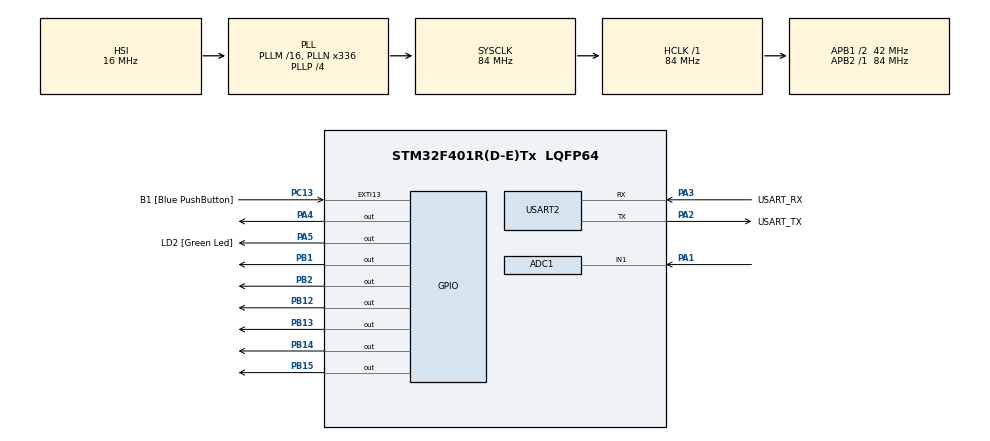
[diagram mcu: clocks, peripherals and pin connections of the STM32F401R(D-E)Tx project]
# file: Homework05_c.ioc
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ADC1.Channel-0\#ChannelRegularConversion=ADC_CHANNEL_1
ADC1.ExternalTrigConv=ADC_EXTERNALTRIGCONV_T3_TRGO
ADC1.NbrOfConversionFlag=1
ADC1.Rank-0\#ChannelRegularConversion=1
ADC1.SamplingTime-0\#ChannelRegularConversion=ADC_SAMPLETIME_480CYCLES
ADC1.master=1
Mcu.Family=STM32F4
Mcu.Name=STM32F401R(D-E)Tx
Mcu.Package=LQFP64
NVIC.ADC_IRQn=true\:0\:0\:false\:false\:true\:true\:true\:true
NVIC.PriorityGroup=NVIC_PRIORITYGROUP_4
PA1.Signal=ADCx_IN1
PA13.GPIO_Label=TMS
PA13.Mode=Trace_Asynchronous_SW
PA13.Signal=SYS_JTMS-SWDIO
PA14.GPIO_Label=TCK
PA14.Mode=Trace_Asynchronous_SW
PA14.Signal=SYS_JTCK-SWCLK
PA2.GPIO_Label=USART_TX
PA2.GPIO_Mode=GPIO_MODE_AF_PP
PA2.GPIO_PuPd=GPIO_NOPULL
PA2.GPIO_Speed=GPIO_SPEED_FREQ_LOW
PA2.Mode=Asynchronous
PA2.Signal=USART2_TX
PA3.GPIO_Label=USART_RX
PA3.GPIO_Mode=GPIO_MODE_AF_PP
PA3.GPIO_PuPd=GPIO_NOPULL
PA3.GPIO_Speed=GPIO_SPEED_FREQ_LOW
PA3.Mode=Asynchronous
PA3.Signal=USART2_RX
PA4.Signal=GPIO_Output
PA5.GPIO_Label=LD2 [Green Led]
PA5.GPIO_Mode=GPIO_MODE_OUTPUT_PP
PA5.GPIO_PuPd=GPIO_NOPULL
PA5.GPIO_Speed=GPIO_SPEED_FREQ_LOW
PA5.Signal=GPIO_Output
PB1.Signal=GPIO_Output
PB12.Signal=GPIO_Output
PB13.Signal=GPIO_Output
PB14.Signal=GPIO_Output
PB15.Signal=GPIO_Output
PB2.Signal=GPIO_Output
PB3.GPIO_Label=SWO
PB3.Mode=Trace_Asynchronous_SW
PB3.Signal=SYS_JTDO-SWO
PC13-ANTI_TAMP.GPIO_Label=B1 [Blue PushButton]
PC13-ANTI_TAMP.GPIO_ModeDefaultEXTI=GPIO_MODE_IT_FALLING
PC13-ANTI_TAMP.GPIO_PuPd=GPIO_NOPULL
PC13-ANTI_TAMP.Signal=GPXTI13
PC14-OSC32_IN.Mode=LSE-External-Oscillator
PC14-OSC32_IN.Signal=RCC_OSC32_IN
PC15-OSC32_OUT.Mode=LSE-External-Oscillator
PC15-OSC32_OUT.Signal=RCC_OSC32_OUT
PH0\ -\ OSC_IN.Mode=HSE-External-Clock-Source
PH0\ -\ OSC_IN.Signal=RCC_OSC_IN
PH1\ -\ OSC_OUT.Mode=HSE-External-Clock-Source
PH1\ -\ OSC_OUT.Signal=RCC_OSC_OUT
ProjectManager.HeapSize=0x200
ProjectManager.StackSize=0x400
ProjectManager.TargetToolchain=STM32CubeIDE
RCC.48MHZClocksFreq_Value=48000000
RCC.AHBFreq_Value=84000000
RCC.APB1CLKDivider=RCC_HCLK_DIV2
RCC.APB1Freq_Value=42000000
RCC.APB1TimFreq_Value=84000000
RCC.APB2Freq_Value=84000000
RCC.APB2TimFreq_Value=84000000
RCC.CortexFreq_Value=84000000
RCC.HCLKFreq_Value=84000000
RCC.HSE_VALUE=8000000
RCC.HSI_VALUE=16000000
RCC.PLLN=336
RCC.PLLP=RCC_PLLP_DIV4
RCC.PLLQ=7
RCC.SYSCLKFreq_VALUE=84000000
RCC.SYSCLKSource=RCC_SYSCLKSOURCE_PLLCLK
RCC.VCOOutputFreq_Value=336000000
SH.ADCx_IN1.0=ADC1_IN1,IN1
TIM3.Period=9999
TIM3.Prescaler=8399
TIM3.TIM_MasterOutputTrigger=TIM_TRGO_UPDATE
USART2.VirtualMode=VM_ASYNC
VP_TIM3_VS_ClockSourceINT.Mode=Internal
board=NUCLEO-F401RE

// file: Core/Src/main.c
/* USER CODE BEGIN Header */
/**
  ******************************************************************************
  * @file           : main.c
  * @brief          : Main program body
  ******************************************************************************
  * @attention
  *
  * Copyright (c) 2025 STMicroelectronics.
  * All rights reserved.
  *
  * This software is licensed under terms that can be found in the LICENSE file
  * in the root directory of this software component.
  * If no LICENSE file comes with this software, it is provided AS-IS.
  *
  ******************************************************************************
  */
/* USER CODE END Header */
#include "main.h"
#include <PMDB16_LCD.h>

/* USER CODE BEGIN PD */
#define LCD_LENGTH 16 * 5
#define VCC 3.3
/* USER CODE END PD */

ADC_HandleTypeDef hadc1;

TIM_HandleTypeDef htim3;

UART_HandleTypeDef huart2;

/* USER CODE BEGIN PV */
char string[64];
/* USER CODE END PV */

void SystemClock_Config(void);
static void MX_GPIO_Init(void);
static void MX_USART2_UART_Init(void);
static void MX_ADC1_Init(void);
static void MX_TIM3_Init(void);

/* USER CODE BEGIN 0 */
void HAL_ADC_ConvCpltCallback(ADC_HandleTypeDef* hadc){

	//HAL_StatusTypeDef s = HAL_ADC_PollForConversion(&hadc1, 10);

	uint32_t value = HAL_ADC_GetValue(&hadc1);
	float voltage = value * 3.3/4096.0;
	int len = snprintf(string, sizeof(string), "Voltage: %.3f V \r\n", voltage);
	HAL_UART_Transmit(&huart2, (uint8_t*)string, len, 100);

	lcd_println(string,0);
	int drawBarPercentage = voltage  / (float)VCC * LCD_LENGTH;
	lcd_drawBar(drawBarPercentage);

}

/* USER CODE END 0 */

int main(void)
{

  /* MCU Configuration--------------------------------------------------------*/

  /* Reset of all peripherals, Initializes the Flash interface and the Systick. */
  HAL_Init();

  /* Configure the system clock */
  SystemClock_Config();

  /* Initialize all configured peripherals */
  MX_GPIO_Init();
  MX_USART2_UART_Init();
  MX_ADC1_Init();
  MX_TIM3_Init();
  /* USER CODE BEGIN 2 */
  HAL_ADC_Start_IT(&hadc1);
  HAL_TIM_Base_Start(&htim3);
  lcd_initialize();
  lcd_backlight_ON();

  /* USER CODE END 2 */

  /* Infinite loop */
  while (1)
  {

  }
}

void SystemClock_Config(void)
{
  RCC_OscInitTypeDef RCC_OscInitStruct = {0};
  RCC_ClkInitTypeDef RCC_ClkInitStruct = {0};

  /** Configure the main internal regulator output voltage
  */
  __HAL_RCC_PWR_CLK_ENABLE();
  __HAL_PWR_VOLTAGESCALING_CONFIG(PWR_REGULATOR_VOLTAGE_SCALE2);

  /** Initializes the RCC Oscillators according to the specified parameters
  * in the RCC_OscInitTypeDef structure.
  */
  RCC_OscInitStruct.OscillatorType = RCC_OSCILLATORTYPE_HSI;
  RCC_OscInitStruct.HSIState = RCC_HSI_ON;
  RCC_OscInitStruct.HSICalibrationValue = RCC_HSICALIBRATION_DEFAULT;
  RCC_OscInitStruct.PLL.PLLState = RCC_PLL_ON;
  RCC_OscInitStruct.PLL.PLLSource = RCC_PLLSOURCE_HSI;
  RCC_OscInitStruct.PLL.PLLM = 16;
  RCC_OscInitStruct.PLL.PLLN = 336;
  RCC_OscInitStruct.PLL.PLLP = RCC_PLLP_DIV4;
  RCC_OscInitStruct.PLL.PLLQ = 7;
  if (HAL_RCC_OscConfig(&RCC_OscInitStruct) != HAL_OK)
  {
    Error_Handler();
  }

  /** Initializes the CPU, AHB and APB buses clocks
  */
  RCC_ClkInitStruct.ClockType = RCC_CLOCKTYPE_HCLK|RCC_CLOCKTYPE_SYSCLK
                              |RCC_CLOCKTYPE_PCLK1|RCC_CLOCKTYPE_PCLK2;
  RCC_ClkInitStruct.SYSCLKSource = RCC_SYSCLKSOURCE_PLLCLK;
  RCC_ClkInitStruct.AHBCLKDivider = RCC_SYSCLK_DIV1;
  RCC_ClkInitStruct.APB1CLKDivider = RCC_HCLK_DIV2;
  RCC_ClkInitStruct.APB2CLKDivider = RCC_HCLK_DIV1;

  if (HAL_RCC_ClockConfig(&RCC_ClkInitStruct, FLASH_LATENCY_2) != HAL_OK)
  {
    Error_Handler();
  }
}

static void MX_ADC1_Init(void)
{

  ADC_ChannelConfTypeDef sConfig = {0};

  /** Configure the global features of the ADC (Clock, Resolution, Data Alignment and number of conversion)
  */
  hadc1.Instance = ADC1;
  hadc1.Init.ClockPrescaler = ADC_CLOCK_SYNC_PCLK_DIV4;
  hadc1.Init.Resolution = ADC_RESOLUTION_12B;
  hadc1.Init.ScanConvMode = DISABLE;
  hadc1.Init.ContinuousConvMode = DISABLE;
  hadc1.Init.DiscontinuousConvMode = DISABLE;
  hadc1.Init.ExternalTrigConvEdge = ADC_EXTERNALTRIGCONVEDGE_RISING;
  hadc1.Init.ExternalTrigConv = ADC_EXTERNALTRIGCONV_T3_TRGO;
  hadc1.Init.DataAlign = ADC_DATAALIGN_RIGHT;
  hadc1.Init.NbrOfConversion = 1;
  hadc1.Init.DMAContinuousRequests = DISABLE;
  hadc1.Init.EOCSelection = ADC_EOC_SINGLE_CONV;
  if (HAL_ADC_Init(&hadc1) != HAL_OK)
  {
    Error_Handler();
  }

  /** Configure for the selected ADC regular channel its corresponding rank in the sequencer and its sample time.
  */
  sConfig.Channel = ADC_CHANNEL_1;
  sConfig.Rank = 1;
  sConfig.SamplingTime = ADC_SAMPLETIME_480CYCLES;
  if (HAL_ADC_ConfigChannel(&hadc1, &sConfig) != HAL_OK)
  {
    Error_Handler();
  }

}

static void MX_TIM3_Init(void)
{

  TIM_ClockConfigTypeDef sClockSourceConfig = {0};
  TIM_MasterConfigTypeDef sMasterConfig = {0};

  htim3.Instance = TIM3;
  htim3.Init.Prescaler = 8399;
  htim3.Init.CounterMode = TIM_COUNTERMODE_UP;
  htim3.Init.Period = 9999;
  htim3.Init.ClockDivision = TIM_CLOCKDIVISION_DIV1;
  htim3.Init.AutoReloadPreload = TIM_AUTORELOAD_PRELOAD_DISABLE;
  if (HAL_TIM_Base_Init(&htim3) != HAL_OK)
  {
    Error_Handler();
  }
  sClockSourceConfig.ClockSource = TIM_CLOCKSOURCE_INTERNAL;
  if (HAL_TIM_ConfigClockSource(&htim3, &sClockSourceConfig) != HAL_OK)
  {
    Error_Handler();
  }
  sMasterConfig.MasterOutputTrigger = TIM_TRGO_UPDATE;
  sMasterConfig.MasterSlaveMode = TIM_MASTERSLAVEMODE_DISABLE;
  if (HAL_TIMEx_MasterConfigSynchronization(&htim3, &sMasterConfig) != HAL_OK)
  {
    Error_Handler();
  }

}

static void MX_USART2_UART_Init(void)
{

  huart2.Instance = USART2;
  huart2.Init.BaudRate = 115200;
  huart2.Init.WordLength = UART_WORDLENGTH_8B;
  huart2.Init.StopBits = UART_STOPBITS_1;
  huart2.Init.Parity = UART_PARITY_NONE;
  huart2.Init.Mode = UART_MODE_TX_RX;
  huart2.Init.HwFlowCtl = UART_HWCONTROL_NONE;
  huart2.Init.OverSampling = UART_OVERSAMPLING_16;
  if (HAL_UART_Init(&huart2) != HAL_OK)
  {
    Error_Handler();
  }

}

static void MX_GPIO_Init(void)
{
  GPIO_InitTypeDef GPIO_InitStruct = {0};

  /* GPIO Ports Clock Enable */
  __HAL_RCC_GPIOC_CLK_ENABLE();
  __HAL_RCC_GPIOH_CLK_ENABLE();
  __HAL_RCC_GPIOA_CLK_ENABLE();
  __HAL_RCC_GPIOB_CLK_ENABLE();

  /*Configure GPIO pin Output Level */
  HAL_GPIO_WritePin(GPIOA, GPIO_PIN_4|LD2_Pin, GPIO_PIN_RESET);

  /*Configure GPIO pin Output Level */
  HAL_GPIO_WritePin(GPIOB, GPIO_PIN_1|GPIO_PIN_2|GPIO_PIN_12|GPIO_PIN_13
                          |GPIO_PIN_14|GPIO_PIN_15, GPIO_PIN_RESET);

  /*Configure GPIO pin : B1_Pin */
  GPIO_InitStruct.Pin = B1_Pin;
  GPIO_InitStruct.Mode = GPIO_MODE_IT_FALLING;
  GPIO_InitStruct.Pull = GPIO_NOPULL;
  HAL_GPIO_Init(B1_GPIO_Port, &GPIO_InitStruct);

  /*Configure GPIO pins : PA4 LD2_Pin */
  GPIO_InitStruct.Pin = GPIO_PIN_4|LD2_Pin;
  GPIO_InitStruct.Mode = GPIO_MODE_OUTPUT_PP;
  GPIO_InitStruct.Pull = GPIO_NOPULL;
  GPIO_InitStruct.Speed = GPIO_SPEED_FREQ_LOW;
  HAL_GPIO_Init(GPIOA, &GPIO_InitStruct);

  /*Configure GPIO pins : PB1 PB2 PB12 PB13
                           PB14 PB15 */
  GPIO_InitStruct.Pin = GPIO_PIN_1|GPIO_PIN_2|GPIO_PIN_12|GPIO_PIN_13
                          |GPIO_PIN_14|GPIO_PIN_15;
  GPIO_InitStruct.Mode = GPIO_MODE_OUTPUT_PP;
  GPIO_InitStruct.Pull = GPIO_NOPULL;
  GPIO_InitStruct.Speed = GPIO_SPEED_FREQ_LOW;
  HAL_GPIO_Init(GPIOB, &GPIO_InitStruct);

}

void Error_Handler(void)
{
  __disable_irq();
  while (1)
  {
  }
}
